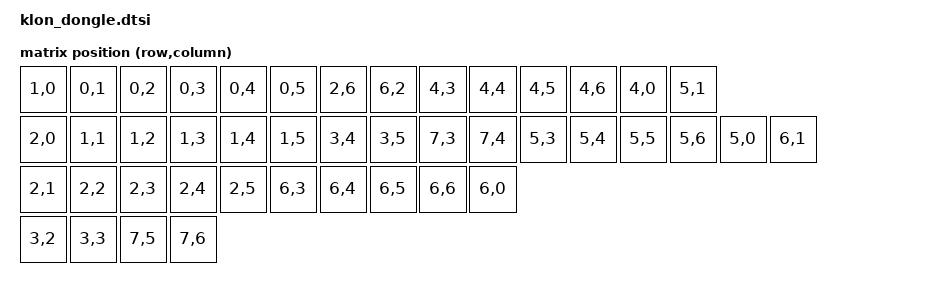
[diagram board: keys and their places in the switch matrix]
#include "klon_dongle-layouts.dtsi"
#include <dt-bindings/zmk/matrix_transform.h>

/ {
    matrix_transform0: matrix_transform0 {
        compatible = "zmk,matrix-transform";
        columns = <7>;
        rows = <8>;
        map = <
            RC(1,0) RC(0,1) RC(0,2) RC(0,3) RC(0,4) RC(0,5) RC(2,6) RC(6,2) RC(4,3) RC(4,4) RC(4,5) RC(4,6) RC(4,0) RC(5,1)
            RC(2,0) RC(1,1) RC(1,2) RC(1,3) RC(1,4) RC(1,5) RC(3,4) RC(3,5) RC(7,3) RC(7,4) RC(5,3) RC(5,4) RC(5,5) RC(5,6) RC(5,0) RC(6,1)
            RC(2,1) RC(2,2) RC(2,3) RC(2,4) RC(2,5) RC(6,3) RC(6,4) RC(6,5) RC(6,6) RC(6,0)
            RC(3,2) RC(3,3) RC(7,5) RC(7,6)
        >;
    };
};

&physical_layout_klon_dongle {
    transform = <&matrix_transform0>;
};

// Encoders for all parts of the keyboard.
// If the encoder(s) are not behaving as expected,
// update steps and triggers-per-rotation to match your hardware.
// All pin assignments are done in the part overlays.

/ {
    encoder_left0: encoder_left0 {
        compatible = "alps,ec11";
        steps = <80>;
        status = "disabled";
    };
    encoder_right0: encoder_right0 {
        compatible = "alps,ec11";
        steps = <80>;
        status = "disabled";
    };

    sensors: sensors {
        compatible = "zmk,keymap-sensors";
        sensors = <&encoder_left0 &encoder_right0>;
        triggers-per-rotation = <20>;
    };
};

